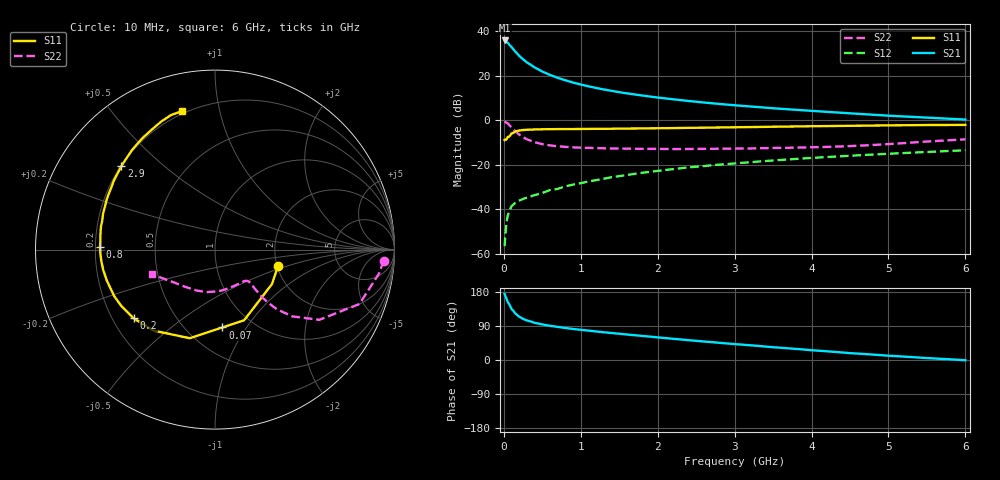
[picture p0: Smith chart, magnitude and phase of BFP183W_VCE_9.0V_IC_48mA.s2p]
! Infineon Technologies  Discrete & RF Semiconductors
! BFP183W
! VCE =  9.0 V,  IC =  48 mA
! Common Emitter S-Parameters:  Jan 2017
# GHz  S  MA  R  50
!  f  S11  S21  S12  S22
! GHz  MAG  ANG  MAG  ANG  MAG  ANG  MAG  ANG
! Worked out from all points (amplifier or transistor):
!   77 points, 10 MHz to 6 GHz, reference 50 ohm
!   highest |S21| = 35.9 dB at 10 MHz (marker M1)
!   |S21| within 3 dB of that: start of sweep to 100.3 MHz
!   unconditionally stable (mu >= 1): 684.7 MHz to 3.41 GHz
!   at 130 MHz: K = 0.37, MSG = 34.7 dB, |S12| = -37.6 dB
!   at 2.2 GHz: K = 1.08, MAG = 14.0 dB, |S12| = -21.9 dB
!   at 6 GHz: K = 0.85, MSG = 6.9 dB, |S12| = -13.4 dB
!   S11 on the Smith chart (normalised r, x): 10 MHz: 2.03, -0.42; 70 MHz: 0.73, -0.78; 200 MHz: 0.29, -0.34; 800 MHz: 0.22, +0.01; 2.9 GHz: 0.20, +0.37; 6 GHz: 0.19, +0.77
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0.01  0.3631 -14.2  62.53 174.4  0.0015 88.2  0.9418 -3.7
0.02  0.371 -31.1  61.19 168.5  0.0027 85.3  0.9234 -8.3
0.05  0.4258 -67.6  55.86 153.5  0.0072 68.3  0.86 -20.6
0.07  0.4357 -84.6  50.62 146.9  0.009 63.3  0.791 -25.3
0.1  0.5135 -105.9  44.34 134.5  0.0118 58.7  0.7 -34.0
0.15  0.5658 -127.1  34.99 122.5  0.0142 52.4  0.5695 -40.8
0.2  0.5934 -139.8  28.26 114.3  0.0158 48.8  0.4807 -43.9
0.25  0.6091 -148.9  23.55 108.5  0.0172 49.8  0.4198 -45.0
0.3  0.6183 -155.1  20.07 104.3  0.0185 49.5  0.3765 -45.3
0.4  0.6269 -163.9  15.49 98.1  0.021 53.2  0.3233 -44.7
0.5  0.6333 -169.8  12.52 93.8  0.0235 54.8  0.2938 -44.0
0.6  0.6365 -174.3  10.53 90.2  0.0274 56.9  0.2749 -43.6
0.7  0.6391 -178.1  9.063 87.3  0.029 60.8  0.2622 -43.3
0.8  0.6409 178.6  7.969 84.4  0.0331 62.5  0.2547 -43.7
1.1  0.6457 170.7  5.839 77.6  0.0424 64.2  0.2422 -46.2
1.5  0.6547 162.5  4.313 69.3  0.0561 65.4  0.2332 -52.1
2.1  0.67 151.1  3.123 57.9  0.0771 64.8  0.2282 -64.7
2.9  0.6981 138.3  2.268 43.7  0.1049 61.2  0.2322 -85.4
3.1  0.7053 135.4  2.125 40.5  0.1117 60.1  0.2339 -90.7
4.1  0.7438 121.9  1.6 24.4  0.1472 54.0  0.2519 -117.3
5.1  0.7771 111.6  1.253 10.2  0.1819 47.4  0.3017 -144.0
6  0.7934 103.6  1.046 -0.7  0.2138 40.9  0.3763 -159.1
